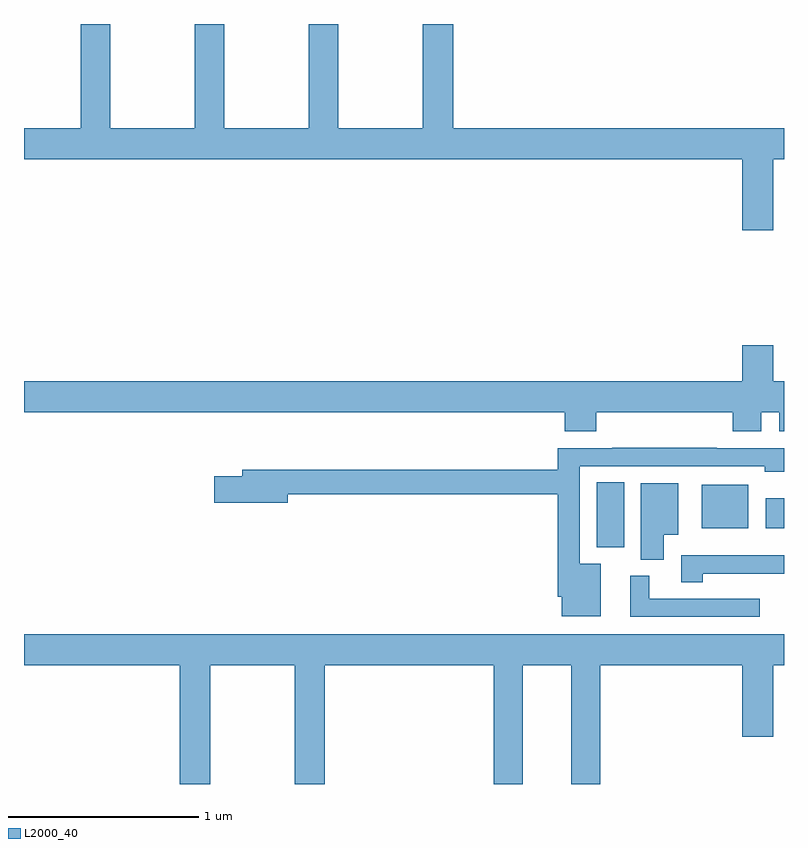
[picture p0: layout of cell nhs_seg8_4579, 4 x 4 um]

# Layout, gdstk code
import gdstk
lib = gdstk.Library(unit=1e-6, precision=1e-09)
def R(c, l, rs):  # rectangles x0, y0, x1, y1
    for r in rs: c.add(gdstk.rectangle(r[:2], r[2:], *l))
def P(c, l, *ps):  # polygons
    for p in ps: c.add(gdstk.Polygon(p, *l))
L2000_40 = (2000, 40)

nhs_seg8_4579 = lib.new_cell('nhs_seg8_4579')
R(nhs_seg8_4579, L2000_40, [(392.015,1093.145,392.158,1093.487), (392.567,1093.247,392.812,1093.474), (392.904,1093.247,393,1093.405)])
P(nhs_seg8_4579, L2000_40, [(392.944,1095.188),(393,1095.188),(393,1095.352),(391.259,1095.352),(391.259,1095.9),(391.099,1095.9),(391.099,1095.352),(390.654,1095.352),(390.654,1095.9),(390.499,1095.9),(390.499,1095.352),(390.054,1095.352),(390.054,1095.9),(389.899,1095.9),(389.899,1095.352),(389.454,1095.352),(389.454,1095.9),(389.299,1095.9),(389.299,1095.352),(389,1095.352),(389,1095.188),(392.78,1095.188),(392.78,1094.814),(392.944,1094.814)],
  [(392.012,1093.856),(392.729,1093.856),(392.729,1093.757),(392.881,1093.757),(392.881,1093.856),(392.975,1093.856),(392.975,1093.757),(393,1093.757),(393,1094.02),(392.944,1094.02),(392.944,1094.209),(392.78,1094.209),(392.78,1094.02),(389,1094.02),(389,1093.856),(391.847,1093.856),(391.847,1093.757),(392.012,1093.757)],
  [(392.035,1093.06),(391.926,1093.06),(391.926,1093.572),(392.898,1093.572),(392.898,1093.544),(393,1093.544),(393,1093.668),(392.645,1093.668),(392.645,1093.67),(392.095,1093.67),(392.095,1093.668),(391.81,1093.668),(391.81,1093.555),(390.149,1093.555),(390.149,1093.521),(390,1093.521),(390,1093.379),(390.388,1093.379),(390.388,1093.426),(391.81,1093.426),(391.81,1092.886),(391.829,1092.886),(391.829,1092.782),(392.035,1092.782)],
  [(392.368,1093.211),(392.443,1093.211),(392.443,1093.483),(392.246,1093.483),(392.246,1093.081),(392.368,1093.081)],
  [(392.573,1093.007),(393,1093.007),(393,1093.105),(392.46,1093.105),(392.46,1092.961),(392.573,1092.961)],
  [(392.872,1092.876),(392.29,1092.876),(392.29,1092.996),(392.192,1092.996),(392.192,1092.78),(392.872,1092.78)],
  [(389.979,1092.524),(390.424,1092.524),(390.424,1091.9),(390.584,1091.9),(390.584,1092.524),(391.472,1092.524),(391.472,1091.9),(391.624,1091.9),(391.624,1092.524),(391.88,1092.524),(391.88,1091.9),(392.033,1091.9),(392.033,1092.524),(392.78,1092.524),(392.78,1092.15),(392.944,1092.15),(392.944,1092.524),(393,1092.524),(393,1092.688),(389,1092.688),(389,1092.524),(389.819,1092.524),(389.819,1091.9),(389.979,1091.9)])

lib.write_gds('nhs_seg8_4579.gds')
